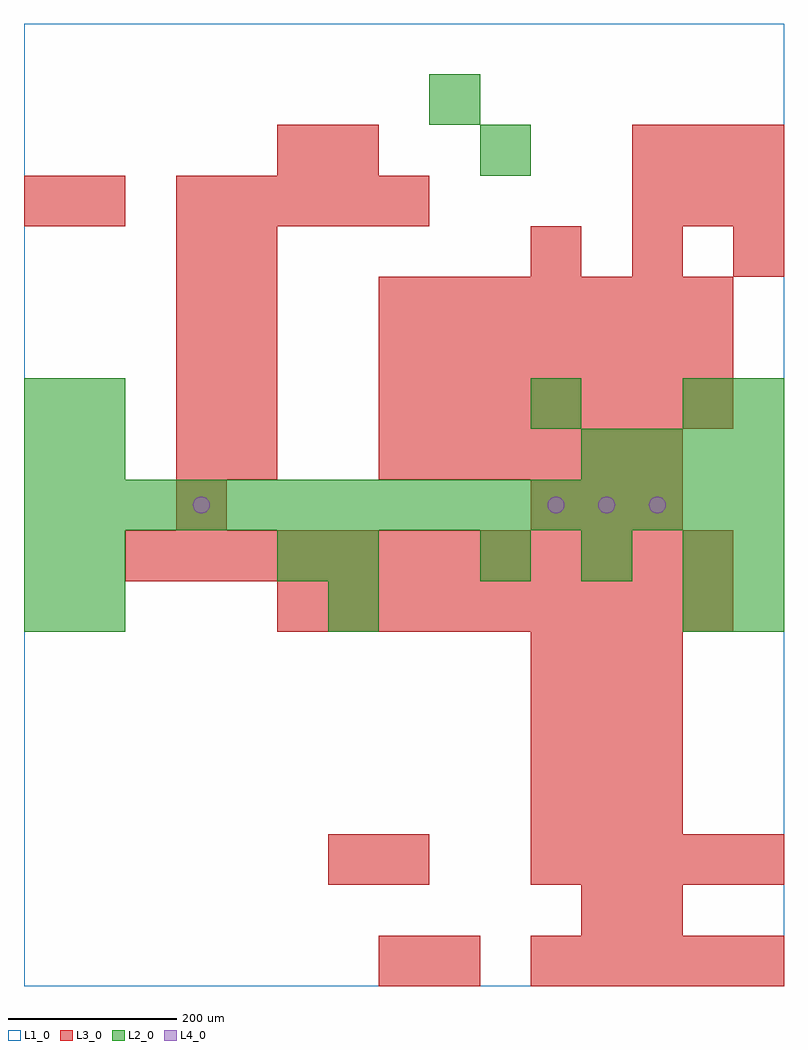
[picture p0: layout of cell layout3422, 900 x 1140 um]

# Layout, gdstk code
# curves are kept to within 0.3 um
import gdstk
lib = gdstk.Library(unit=1e-6, precision=1e-09)
def R(c, l, rs):  # rectangles x0, y0, x1, y1
    for r in rs: c.add(gdstk.rectangle(r[:2], r[2:], *l))
def A(c, l, x, y, w, h, nx, ny, dx, dy):  # array of equal rectangles
    R(c, l, [(x+i*dx, y+j*dy, x+i*dx+w, y+j*dy+h) for i in range(nx) for j in range(ny)])
def P(c, l, *ps):  # polygons
    for p in ps: c.add(gdstk.Polygon(p, *l))
L1_0 = (1, 0)
L2_0 = (2, 0)
L3_0 = (3, 0)
L4_0 = (4, 0)

layout3422 = lib.new_cell('layout3422')
R(layout3422, L1_0, [(0,0,900,1140)])
A(layout3422, L2_0, 540, 480, 60, 60, 3, 1, 120, 0)
A(layout3422, L2_0, 0, 540, 60, 60, 15, 1, 60, 0)
A(layout3422, L2_0, 660, 600, 60, 60, 4, 1, 60, 0)
R(layout3422, L2_0, [(0,420,60,480), (60,420,120,480), (360,420,420,480), (780,420,840,480), (840,420,900,480), (0,480,60,540), (60,480,120,540), (300,480,360,540), (360,480,420,540), (840,480,900,540), (0,600,60,660), (60,600,120,660), (0,660,60,720), (60,660,120,720), (600,660,660,720), (780,660,840,720), (840,660,900,720), (540,960,600,1020), (480,1020,540,1080)])
A(layout3422, L3_0, 600, 0, 60, 60, 5, 2, 60, 120)
A(layout3422, L3_0, 600, 180, 60, 60, 3, 4, 60, 60)
A(layout3422, L3_0, 300, 420, 60, 60, 9, 1, 60, 0)
A(layout3422, L3_0, 120, 480, 60, 60, 12, 1, 60, 0)
A(layout3422, L3_0, 180, 540, 60, 60, 1, 6, 0, 60)
A(layout3422, L3_0, 600, 540, 60, 60, 3, 1, 60, 0)
A(layout3422, L3_0, 240, 600, 60, 60, 1, 5, 0, 60)
A(layout3422, L3_0, 420, 600, 60, 60, 6, 1, 60, 0)
A(layout3422, L3_0, 420, 660, 60, 60, 7, 3, 60, 60)
A(layout3422, L3_0, 600, 840, 60, 60, 3, 1, 120, 0)
A(layout3422, L3_0, 180, 900, 60, 60, 5, 1, 60, 0)
A(layout3422, L3_0, 720, 900, 60, 60, 3, 2, 60, 60)
R(layout3422, L3_0, [(420,0,480,60), (480,0,540,60), (660,60,720,120), (720,60,780,120), (360,120,420,180), (420,120,480,180), (0,900,60,960), (60,900,120,960), (300,960,360,1020), (360,960,420,1020)])
P(layout3422, L4_0, [(220,570),(219.239,573.827),(217.071,577.071),(213.827,579.239),(210,580),(206.173,579.239),(202.929,577.071),(200.761,573.827),(200,570),(200.761,566.173),(202.929,562.929),(206.173,560.761),(210,560),(213.827,560.761),(217.071,562.929),(219.239,566.173)],
  [(640,570),(639.239,573.827),(637.071,577.071),(633.827,579.239),(630,580),(626.173,579.239),(622.929,577.071),(620.761,573.827),(620,570),(620.761,566.173),(622.929,562.929),(626.173,560.761),(630,560),(633.827,560.761),(637.071,562.929),(639.239,566.173)],
  [(700,570),(699.239,573.827),(697.071,577.071),(693.827,579.239),(690,580),(686.173,579.239),(682.929,577.071),(680.761,573.827),(680,570),(680.761,566.173),(682.929,562.929),(686.173,560.761),(690,560),(693.827,560.761),(697.071,562.929),(699.239,566.173)],
  [(760,570),(759.239,573.827),(757.071,577.071),(753.827,579.239),(750,580),(746.173,579.239),(742.929,577.071),(740.761,573.827),(740,570),(740.761,566.173),(742.929,562.929),(746.173,560.761),(750,560),(753.827,560.761),(757.071,562.929),(759.239,566.173)])

lib.write_gds('layout3422.gds')
